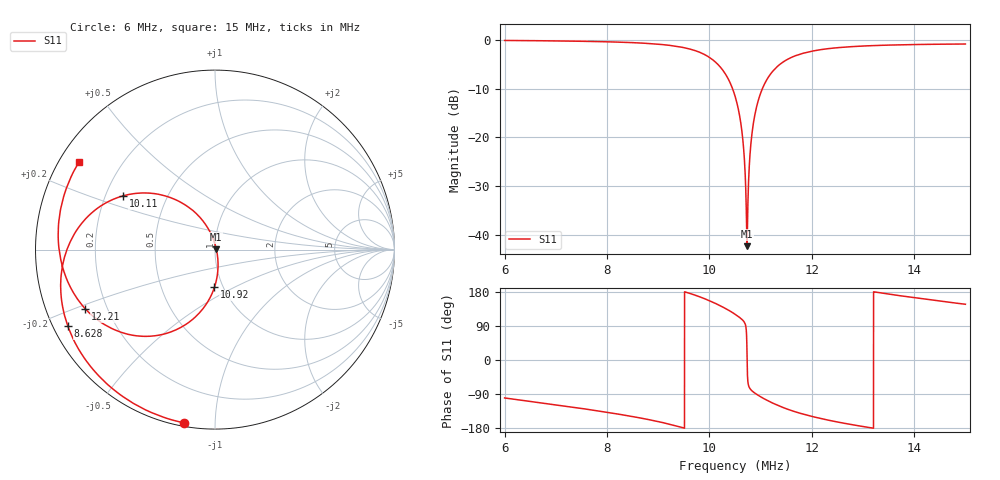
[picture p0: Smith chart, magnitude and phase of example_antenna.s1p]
# HZ S RI R 50
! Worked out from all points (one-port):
!   5050 points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, 6 MHz to 15 MHz, reference 50 ohm
!   lowest |S11| = -42.2 dB at 10.73 MHz (marker M1), VSWR 1.02, Z = 50.7 + j0.218 ohm
!   |S11| at or under -10 dB: 10.45 MHz to 11.03 MHz (584.3 kHz wide, 5.44 % of centre)
!   S11 on the Smith chart (normalised r, x): 6 MHz: 0.02, -0.84; 8.628 MHz: 0.04, -0.24; 10.11 MHz: 0.27, +0.25; 10.92 MHz: 0.91, -0.40; 12.21 MHz: 0.12, -0.21; 15 MHz: 0.06, +0.29
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6000000  -0.1731 -0.9648
7126224  -0.4925 -0.8331
8250666  -0.7567 -0.5599
8628450  -0.8198 -0.4268
9375108  -0.8473 -0.078
9765366  -0.7434 0.1454
1.010929e7  -0.5135 0.299
1.033561e7  -0.2958 0.3039
1.049955e7  -0.1348 0.2275
1.057439e7  -0.0734 0.1673
1.062964e7  -0.0366 0.1143
1.066706e7  -0.0166 0.0751
1.070448e7  -0.00125 0.0343
1.073299e7  0.00745 0.00215
1.07615e7  0.0134 -0.0304
1.079714e7  0.0169 -0.0711
1.082744e7  0.0166 -0.1055
1.087021e7  0.0113 -0.1527
1.092367e7  -0.0028 -0.2093
1.103593e7  -0.055 -0.313
1.118562e7  -0.1549 -0.4117
1.138877e7  -0.3068 -0.4756
1.162399e7  -0.4666 -0.4757
1.220849e7  -0.723 -0.3298
1.274843e7  -0.8321 -0.1494
1.327947e7  -0.8712 0.0244
1.387288e7  -0.8641 0.2035
1.499732e7  -0.7567 0.49
